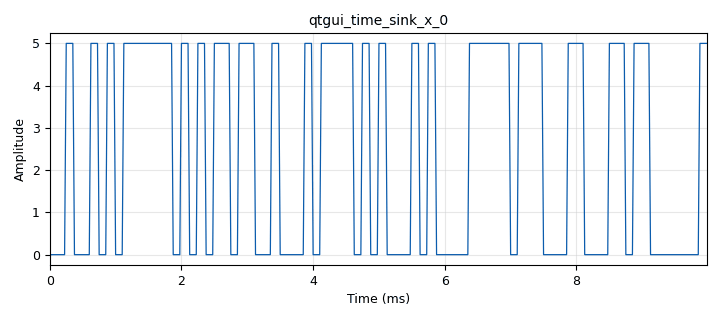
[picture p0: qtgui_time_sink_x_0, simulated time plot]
options:
  parameters:
    author: jbcr
    generate_options: qt_gui
    id: lab0b
    output_language: python
    title: Not titled yet
  states: {}

blocks:
- name: samp_rate
  id: variable
  parameters:
    value: '40000'
  states: {}
- name: analog_random_source_x_0
  id: analog_random_source_x
  parameters:
    max: '256'
    min: '0'
    num_samps: '10'
    repeat: 'False'
    type: byte
  states: {}
- name: blocks_char_to_float_0
  id: blocks_char_to_float
  parameters:
    scale: '0.2'
  states: {}
- name: blocks_file_sink_0
  id: blocks_file_sink
  parameters:
    file: /home/jbcr/Desktop/IST/3ano/Telecom/lab0/Output/lab0b-packed.dat
    type: byte
    unbuffered: 'True'
  states: {}
- name: blocks_file_sink_0_0
  id: blocks_file_sink
  parameters:
    file: /home/jbcr/Desktop/IST/3ano/Telecom/lab0/Output/lab0b-unpacked.dat
    type: byte
    unbuffered: 'True'
  states: {}
- name: blocks_repeat_0
  id: blocks_repeat
  parameters:
    interp: '5'
    type: float
  states: {}
- name: blocks_throttle_0
  id: blocks_throttle
  parameters:
    samples_per_second: samp_rate
    type: float
  states: {}
- name: blocks_unpack_k_bits_bb_0
  id: blocks_unpack_k_bits_bb
  parameters:
    k: '8'
  states: {}
- name: qtgui_time_sink_x_0
  id: qtgui_time_sink_x
  parameters:
    autoscale: 'True'
    size: '400'
    srate: samp_rate
    type: float
  states: {}

connections:
- [analog_random_source_x_0, '0', blocks_file_sink_0, '0']
- [analog_random_source_x_0, '0', blocks_unpack_k_bits_bb_0, '0']
- [blocks_char_to_float_0, '0', blocks_repeat_0, '0']
- [blocks_repeat_0, '0', blocks_throttle_0, '0']
- [blocks_throttle_0, '0', qtgui_time_sink_x_0, '0']
- [blocks_unpack_k_bits_bb_0, '0', blocks_char_to_float_0, '0']
- [blocks_unpack_k_bits_bb_0, '0', blocks_file_sink_0_0, '0']

metadata:
  file_format: 1
  grc_version: 3.10.6.0
